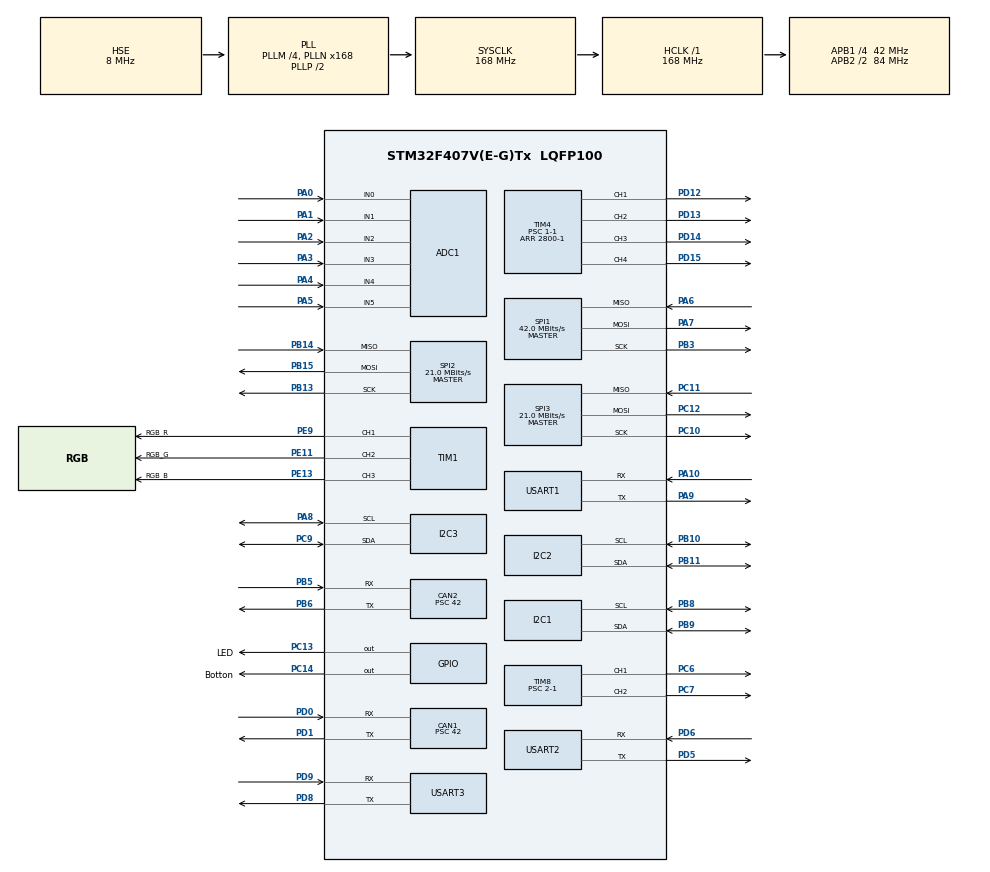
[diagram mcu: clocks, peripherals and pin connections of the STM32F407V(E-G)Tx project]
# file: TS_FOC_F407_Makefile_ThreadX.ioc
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ADC1.Channel-0\#ChannelRegularConversion=ADC_CHANNEL_0
ADC1.Channel-1\#ChannelRegularConversion=ADC_CHANNEL_1
ADC1.Channel-10\#ChannelRegularConversion=ADC_CHANNEL_5
ADC1.Channel-2\#ChannelRegularConversion=ADC_CHANNEL_2
ADC1.Channel-3\#ChannelRegularConversion=ADC_CHANNEL_3
ADC1.Channel-9\#ChannelRegularConversion=ADC_CHANNEL_4
ADC1.ContinuousConvMode=ENABLE
ADC1.DMAContinuousRequests=ENABLE
ADC1.InjNumberOfConversion=0
ADC1.NbrOfConversion=6
ADC1.NbrOfConversionFlag=1
ADC1.Rank-0\#ChannelRegularConversion=1
ADC1.Rank-1\#ChannelRegularConversion=2
ADC1.Rank-10\#ChannelRegularConversion=6
ADC1.Rank-2\#ChannelRegularConversion=3
ADC1.Rank-3\#ChannelRegularConversion=4
ADC1.Rank-9\#ChannelRegularConversion=5
ADC1.SamplingTime-0\#ChannelRegularConversion=ADC_SAMPLETIME_15CYCLES
ADC1.SamplingTime-1\#ChannelRegularConversion=ADC_SAMPLETIME_15CYCLES
ADC1.SamplingTime-10\#ChannelRegularConversion=ADC_SAMPLETIME_15CYCLES
ADC1.SamplingTime-2\#ChannelRegularConversion=ADC_SAMPLETIME_15CYCLES
ADC1.SamplingTime-3\#ChannelRegularConversion=ADC_SAMPLETIME_15CYCLES
ADC1.SamplingTime-9\#ChannelRegularConversion=ADC_SAMPLETIME_15CYCLES
ADC1.master=1
CAN1.BS1=CAN_BS1_7TQ
CAN1.BS2=CAN_BS2_2TQ
CAN1.CalculateBaudRate=100000
CAN1.CalculateTimeBit=10000
CAN1.CalculateTimeQuantum=1000.0
CAN1.Prescaler=42
CAN2.BS1=CAN_BS1_7TQ
CAN2.BS2=CAN_BS2_2TQ
CAN2.CalculateBaudRate=100000
CAN2.CalculateTimeBit=10000
CAN2.CalculateTimeQuantum=1000.0
CAN2.Prescaler=42
CAN2.SJW=CAN_SJW_1TQ
Dma.ADC1.1.Direction=DMA_PERIPH_TO_MEMORY
Dma.ADC1.1.FIFOMode=DMA_FIFOMODE_DISABLE
Dma.ADC1.1.Instance=DMA2_Stream4
Dma.ADC1.1.MemDataAlignment=DMA_MDATAALIGN_HALFWORD
Dma.ADC1.1.MemInc=DMA_MINC_ENABLE
Dma.ADC1.1.Mode=DMA_CIRCULAR
Dma.ADC1.1.PeriphDataAlignment=DMA_PDATAALIGN_HALFWORD
Dma.ADC1.1.PeriphInc=DMA_PINC_DISABLE
Dma.ADC1.1.Priority=DMA_PRIORITY_MEDIUM
Dma.I2C1_RX.7.Direction=DMA_PERIPH_TO_MEMORY
Dma.I2C1_RX.7.FIFOMode=DMA_FIFOMODE_DISABLE
Dma.I2C1_RX.7.Instance=DMA1_Stream0
Dma.I2C1_RX.7.MemDataAlignment=DMA_MDATAALIGN_BYTE
Dma.I2C1_RX.7.MemInc=DMA_MINC_ENABLE
Dma.I2C1_RX.7.Mode=DMA_NORMAL
Dma.I2C1_RX.7.PeriphDataAlignment=DMA_PDATAALIGN_BYTE
Dma.I2C1_RX.7.PeriphInc=DMA_PINC_DISABLE
Dma.I2C1_RX.7.Priority=DMA_PRIORITY_LOW
Dma.I2C1_TX.8.Direction=DMA_MEMORY_TO_PERIPH
Dma.I2C1_TX.8.FIFOMode=DMA_FIFOMODE_DISABLE
Dma.I2C1_TX.8.Instance=DMA1_Stream7
Dma.I2C1_TX.8.MemDataAlignment=DMA_MDATAALIGN_BYTE
Dma.I2C1_TX.8.MemInc=DMA_MINC_ENABLE
Dma.I2C1_TX.8.Mode=DMA_NORMAL
Dma.I2C1_TX.8.PeriphDataAlignment=DMA_PDATAALIGN_BYTE
Dma.I2C1_TX.8.PeriphInc=DMA_PINC_DISABLE
Dma.I2C1_TX.8.Priority=DMA_PRIORITY_LOW
Dma.Request0=USART1_RX
Dma.Request1=ADC1
Dma.Request2=USART3_RX
Dma.Request3=USART3_TX
Dma.Request4=USART1_TX
Dma.Request5=USART2_RX
Dma.Request6=USART2_TX
Dma.Request7=I2C1_RX
Dma.Request8=I2C1_TX
Dma.USART1_RX.0.Direction=DMA_PERIPH_TO_MEMORY
Dma.USART1_RX.0.FIFOMode=DMA_FIFOMODE_DISABLE
Dma.USART1_RX.0.Instance=DMA2_Stream2
Dma.USART1_RX.0.MemDataAlignment=DMA_MDATAALIGN_BYTE
Dma.USART1_RX.0.MemInc=DMA_MINC_ENABLE
Dma.USART1_RX.0.Mode=DMA_NORMAL
Dma.USART1_RX.0.PeriphDataAlignment=DMA_PDATAALIGN_BYTE
Dma.USART1_RX.0.PeriphInc=DMA_PINC_DISABLE
Dma.USART1_RX.0.Priority=DMA_PRIORITY_LOW
Dma.USART1_TX.4.Direction=DMA_MEMORY_TO_PERIPH
Dma.USART1_TX.4.FIFOMode=DMA_FIFOMODE_DISABLE
Dma.USART1_TX.4.Instance=DMA2_Stream7
Dma.USART1_TX.4.MemDataAlignment=DMA_MDATAALIGN_BYTE
Dma.USART1_TX.4.MemInc=DMA_MINC_ENABLE
Dma.USART1_TX.4.Mode=DMA_NORMAL
Dma.USART1_TX.4.PeriphDataAlignment=DMA_PDATAALIGN_BYTE
Dma.USART1_TX.4.PeriphInc=DMA_PINC_DISABLE
Dma.USART1_TX.4.Priority=DMA_PRIORITY_LOW
Dma.USART2_RX.5.Direction=DMA_PERIPH_TO_MEMORY
Dma.USART2_RX.5.FIFOMode=DMA_FIFOMODE_DISABLE
Dma.USART2_RX.5.Instance=DMA1_Stream5
Dma.USART2_RX.5.MemDataAlignment=DMA_MDATAALIGN_BYTE
Dma.USART2_RX.5.MemInc=DMA_MINC_ENABLE
Dma.USART2_RX.5.Mode=DMA_NORMAL
Dma.USART2_RX.5.PeriphDataAlignment=DMA_PDATAALIGN_BYTE
Dma.USART2_RX.5.PeriphInc=DMA_PINC_DISABLE
Dma.USART2_RX.5.Priority=DMA_PRIORITY_LOW
Dma.USART2_TX.6.Direction=DMA_MEMORY_TO_PERIPH
Dma.USART2_TX.6.FIFOMode=DMA_FIFOMODE_DISABLE
Dma.USART2_TX.6.Instance=DMA1_Stream6
Dma.USART2_TX.6.MemDataAlignment=DMA_MDATAALIGN_BYTE
Dma.USART2_TX.6.MemInc=DMA_MINC_ENABLE
Dma.USART2_TX.6.Mode=DMA_NORMAL
Dma.USART2_TX.6.PeriphDataAlignment=DMA_PDATAALIGN_BYTE
Dma.USART2_TX.6.PeriphInc=DMA_PINC_DISABLE
Dma.USART2_TX.6.Priority=DMA_PRIORITY_LOW
Dma.USART3_RX.2.Direction=DMA_PERIPH_TO_MEMORY
Dma.USART3_RX.2.FIFOMode=DMA_FIFOMODE_DISABLE
Dma.USART3_RX.2.Instance=DMA1_Stream1
Dma.USART3_RX.2.MemDataAlignment=DMA_MDATAALIGN_BYTE
Dma.USART3_RX.2.MemInc=DMA_MINC_ENABLE
Dma.USART3_RX.2.Mode=DMA_NORMAL
Dma.USART3_RX.2.PeriphDataAlignment=DMA_PDATAALIGN_BYTE
Dma.USART3_RX.2.PeriphInc=DMA_PINC_DISABLE
Dma.USART3_RX.2.Priority=DMA_PRIORITY_LOW
Dma.USART3_TX.3.Direction=DMA_MEMORY_TO_PERIPH
Dma.USART3_TX.3.FIFOMode=DMA_FIFOMODE_DISABLE
Dma.USART3_TX.3.Instance=DMA1_Stream4
Dma.USART3_TX.3.MemDataAlignment=DMA_MDATAALIGN_BYTE
Dma.USART3_TX.3.MemInc=DMA_MINC_ENABLE
Dma.USART3_TX.3.Mode=DMA_NORMAL
Dma.USART3_TX.3.PeriphDataAlignment=DMA_PDATAALIGN_BYTE
Dma.USART3_TX.3.PeriphInc=DMA_PINC_DISABLE
Dma.USART3_TX.3.Priority=DMA_PRIORITY_LOW
I2C1.I2C_Mode=I2C_Fast
I2C2.I2C_Mode=I2C_Fast
Mcu.Family=STM32F4
Mcu.Name=STM32F407V(E-G)Tx
Mcu.Package=LQFP100
NVIC.ADC_IRQn=true\:0\:0\:false\:false\:true\:true\:true\:true
NVIC.CAN1_RX0_IRQn=true\:0\:0\:false\:false\:true\:true\:true\:true
NVIC.CAN1_RX1_IRQn=true\:0\:0\:false\:false\:true\:true\:true\:true
NVIC.CAN1_SCE_IRQn=true\:0\:0\:false\:false\:true\:true\:true\:true
NVIC.CAN1_TX_IRQn=true\:0\:0\:false\:false\:true\:true\:true\:true
NVIC.CAN2_RX0_IRQn=true\:0\:0\:false\:false\:true\:true\:true\:true
NVIC.CAN2_RX1_IRQn=true\:0\:0\:false\:false\:true\:true\:true\:true
NVIC.CAN2_SCE_IRQn=true\:0\:0\:false\:false\:true\:true\:true\:true
NVIC.CAN2_TX_IRQn=true\:0\:0\:false\:false\:true\:true\:true\:true
NVIC.DMA1_Stream0_IRQn=true\:0\:0\:false\:false\:true\:false\:true\:true
NVIC.DMA1_Stream1_IRQn=true\:0\:0\:false\:false\:true\:false\:true\:true
NVIC.DMA1_Stream4_IRQn=true\:0\:0\:false\:false\:true\:false\:true\:true
NVIC.DMA1_Stream5_IRQn=true\:0\:0\:false\:false\:true\:false\:true\:true
NVIC.DMA1_Stream6_IRQn=true\:0\:0\:false\:false\:true\:false\:true\:true
NVIC.DMA1_Stream7_IRQn=true\:0\:0\:false\:false\:true\:false\:true\:true
NVIC.DMA2_Stream2_IRQn=true\:0\:0\:false\:false\:true\:false\:true\:true
NVIC.DMA2_Stream4_IRQn=true\:0\:0\:false\:false\:true\:false\:true\:true
NVIC.DMA2_Stream7_IRQn=true\:0\:0\:false\:false\:true\:false\:true\:true
NVIC.I2C1_ER_IRQn=true\:0\:0\:false\:false\:true\:true\:true\:true
NVIC.I2C1_EV_IRQn=true\:0\:0\:false\:false\:true\:true\:true\:true
NVIC.I2C2_ER_IRQn=true\:0\:0\:false\:false\:true\:true\:true\:true
NVIC.I2C2_EV_IRQn=true\:0\:0\:false\:false\:true\:true\:true\:true
NVIC.PriorityGroup=NVIC_PRIORITYGROUP_4
NVIC.SPI2_IRQn=true\:0\:0\:false\:false\:true\:true\:true\:true
NVIC.TIM4_IRQn=true\:0\:0\:false\:false\:true\:true\:true\:true
NVIC.TIM8_TRG_COM_TIM14_IRQn=true\:15\:0\:false\:false\:true\:false\:true\:true
NVIC.TIM8_UP_TIM13_IRQn=true\:15\:0\:false\:false\:true\:false\:true\:true
NVIC.TimeBase=TIM8_UP_TIM13_IRQn
NVIC.TimeBaseIP=TIM13
NVIC.USART1_IRQn=true\:0\:0\:false\:false\:true\:true\:true\:true
NVIC.USART2_IRQn=true\:0\:0\:false\:false\:true\:true\:true\:true
NVIC.USART3_IRQn=true\:0\:0\:false\:false\:true\:true\:true\:true
PA0-WKUP.Signal=ADCx_IN0
PA1.Signal=ADCx_IN1
PA10.Mode=Asynchronous
PA10.Signal=USART1_RX
PA13.Mode=Serial_Wire
PA13.Signal=SYS_JTMS-SWDIO
PA14.Mode=Serial_Wire
PA14.Signal=SYS_JTCK-SWCLK
PA2.Signal=ADCx_IN2
PA3.Signal=ADCx_IN3
PA4.Signal=ADCx_IN4
PA5.Signal=ADCx_IN5
PA6.Mode=Full_Duplex_Master
PA6.Signal=SPI1_MISO
PA7.Mode=Full_Duplex_Master
PA7.Signal=SPI1_MOSI
PA8.Mode=I2C
PA8.Signal=I2C3_SCL
PA9.Mode=Asynchronous
PA9.Signal=USART1_TX
PB10.GPIO_Pu=GPIO_PULLUP
PB10.Mode=I2C
PB10.Signal=I2C2_SCL
PB11.GPIO_Pu=GPIO_PULLUP
PB11.Mode=I2C
PB11.Signal=I2C2_SDA
PB13.Mode=Full_Duplex_Master
PB13.Signal=SPI2_SCK
PB14.Mode=Full_Duplex_Master
PB14.Signal=SPI2_MISO
PB15.Mode=Full_Duplex_Master
PB15.Signal=SPI2_MOSI
PB3.Mode=Full_Duplex_Master
PB3.Signal=SPI1_SCK
PB5.Mode=CAN_Activate
PB5.Signal=CAN2_RX
PB6.Mode=CAN_Activate
PB6.Signal=CAN2_TX
PB8.GPIO_Pu=GPIO_PULLUP
PB8.Mode=I2C
PB8.Signal=I2C1_SCL
PB9.GPIO_Pu=GPIO_PULLUP
PB9.Mode=I2C
PB9.Signal=I2C1_SDA
PC10.Mode=Full_Duplex_Master
PC10.Signal=SPI3_SCK
PC11.Mode=Full_Duplex_Master
PC11.Signal=SPI3_MISO
PC12.Mode=Full_Duplex_Master
PC12.Signal=SPI3_MOSI
PC13-ANTI_TAMP.GPIO_Label=LED
PC13-ANTI_TAMP.Signal=GPIO_Output
PC14-OSC32_IN.GPIO_Label=Botton
PC14-OSC32_IN.PinState=GPIO_PIN_SET
PC14-OSC32_IN.Signal=GPIO_Output
PC6.Signal=S_TIM8_CH1
PC7.Signal=S_TIM8_CH2
PC9.Mode=I2C
PC9.Signal=I2C3_SDA
PD0.Mode=CAN_Activate
PD0.Signal=CAN1_RX
PD1.Mode=CAN_Activate
PD1.Signal=CAN1_TX
PD12.Signal=S_TIM4_CH1
PD13.Signal=S_TIM4_CH2
PD14.Signal=S_TIM4_CH3
PD15.Signal=S_TIM4_CH4
PD5.Mode=Asynchronous
PD5.Signal=USART2_TX
PD6.Mode=Asynchronous
PD6.Signal=USART2_RX
PD8.Mode=Asynchronous
PD8.Signal=USART3_TX
PD9.Mode=Asynchronous
PD9.Signal=USART3_RX
PE11.GPIO_Label=RGB_G
PE11.Signal=S_TIM1_CH2
PE13.GPIO_Label=RGB_B
PE13.Signal=S_TIM1_CH3
PE9.GPIO_Label=RGB_R
PE9.Signal=S_TIM1_CH1
PH0-OSC_IN.Mode=HSE-External-Oscillator
PH0-OSC_IN.Signal=RCC_OSC_IN
PH1-OSC_OUT.Mode=HSE-External-Oscillator
PH1-OSC_OUT.Signal=RCC_OSC_OUT
ProjectManager.HeapSize=0x10000
ProjectManager.StackSize=0x8000
ProjectManager.TargetToolchain=Makefile
RCC.48MHZClocksFreq_Value=48000000
RCC.AHBFreq_Value=168000000
RCC.APB1CLKDivider=RCC_HCLK_DIV4
RCC.APB1Freq_Value=42000000
RCC.APB1TimFreq_Value=84000000
RCC.APB2CLKDivider=RCC_HCLK_DIV2
RCC.APB2Freq_Value=84000000
RCC.APB2TimFreq_Value=168000000
RCC.CortexFreq_Value=168000000
RCC.HCLKFreq_Value=168000000
RCC.HSE_VALUE=8000000
RCC.HSI_VALUE=16000000
RCC.LSE_VALUE=32768
RCC.PLLM=4
RCC.PLLN=168
RCC.PLLQ=7
RCC.PLLSourceVirtual=RCC_PLLSOURCE_HSE
RCC.SYSCLKFreq_VALUE=168000000
RCC.SYSCLKSource=RCC_SYSCLKSOURCE_PLLCLK
RCC.VCOOutputFreq_Value=336000000
SH.ADCx_IN0.0=ADC1_IN0,IN0
SH.ADCx_IN1.0=ADC1_IN1,IN1
SH.ADCx_IN2.0=ADC1_IN2,IN2
SH.ADCx_IN3.0=ADC1_IN3,IN3
SH.ADCx_IN4.0=ADC1_IN4,IN4
SH.ADCx_IN5.0=ADC1_IN5,IN5
SH.S_TIM1_CH1.0=TIM1_CH1,PWM Generation1 CH1
SH.S_TIM1_CH2.0=TIM1_CH2,PWM Generation2 CH2
SH.S_TIM1_CH3.0=TIM1_CH3,PWM Generation3 CH3
SH.S_TIM4_CH1.0=TIM4_CH1,PWM Generation1 CH1
SH.S_TIM4_CH2.0=TIM4_CH2,PWM Generation2 CH2
SH.S_TIM4_CH3.0=TIM4_CH3,PWM Generation3 CH3
SH.S_TIM4_CH4.0=TIM4_CH4,PWM Generation4 CH4
SH.S_TIM8_CH1.0=TIM8_CH1,PWM Generation1 CH1
SH.S_TIM8_CH2.0=TIM8_CH2,PWM Generation2 CH2
SPI1.CalculateBaudRate=42.0 MBits/s
SPI1.Direction=SPI_DIRECTION_2LINES
SPI1.Mode=SPI_MODE_MASTER
SPI1.VirtualType=VM_MASTER
SPI2.CalculateBaudRate=21.0 MBits/s
SPI2.Direction=SPI_DIRECTION_2LINES
SPI2.Mode=SPI_MODE_MASTER
SPI2.VirtualType=VM_MASTER
SPI3.CalculateBaudRate=21.0 MBits/s
SPI3.Direction=SPI_DIRECTION_2LINES
SPI3.Mode=SPI_MODE_MASTER
SPI3.VirtualType=VM_MASTER
STMicroelectronics.X-CUBE-AZRTOS-F4.1.1.0.AZRTOS_APP_MEM_ALLOCATION_METHOD=1
STMicroelectronics.X-CUBE-AZRTOS-F4.1.1.0.TX_APP_MEM_POOL_SIZE=20480
STMicroelectronics.X-CUBE-AZRTOS-F4.1.1.0.TX_TIMER_TICKS_PER_SECOND=1000
STMicroelectronics.X-CUBE-AZRTOS-F4.1.1.0.UX_DEVICE_CLASS_DFU_ERROR_GET_ENABLE=1
STMicroelectronics.X-CUBE-AZRTOS-F4.1.1.0.UX_DEVICE_CLASS_DFU_STATUS_MODE=0
STMicroelectronics.X-CUBE-AZRTOS-F4.1.1.0.UX_DEVICE_CLASS_DFU_STATUS_POLLTIMEOUT=100
STMicroelectronics.X-CUBE-AZRTOS-F4.1.1.0.UX_DEVICE_SIDE_ONLY=0
STMicroelectronics.X-CUBE-AZRTOS-F4.1.1.0.UX_ENFORCE_SAFE_ALIGNMENT=1
STMicroelectronics.X-CUBE-AZRTOS-F4.1.1.0.UX_HOST_SIDE_ONLY=0
STMicroelectronics.X-CUBE-AZRTOS-F4.1.1.0.UX_MAX_HCD=2
STMicroelectronics.X-CUBE-AZRTOS-F4.1.1.0.UX_OTG_SUPPORT=0
STMicroelectronics.X-CUBE-AZRTOS-F4.1.1.0.UX_THREAD_PRIORITY_HCD=2
STMicroelectronics.X-CUBE-AZRTOS-F4.1.1.0_IsAnAzureRtosMw=true
TIM1.Channel-PWM\ Generation1\ CH1=TIM_CHANNEL_1
TIM1.Channel-PWM\ Generation2\ CH2=TIM_CHANNEL_2
TIM1.Channel-PWM\ Generation3\ CH3=TIM_CHANNEL_3
TIM4.AutoReloadPreload=TIM_AUTORELOAD_PRELOAD_ENABLE
TIM4.Channel-PWM\ Generation1\ CH1=TIM_CHANNEL_1
TIM4.Channel-PWM\ Generation2\ CH2=TIM_CHANNEL_2
TIM4.Channel-PWM\ Generation3\ CH3=TIM_CHANNEL_3
TIM4.Channel-PWM\ Generation4\ CH4=TIM_CHANNEL_4
TIM4.Period=2800-1
TIM4.Prescaler=1-1
TIM8.AutoReloadPreload=TIM_AUTORELOAD_PRELOAD_ENABLE
TIM8.Channel-PWM\ Generation1\ CH1=TIM_CHANNEL_1
TIM8.Channel-PWM\ Generation2\ CH2=TIM_CHANNEL_2
TIM8.Period=2800-1
TIM8.Prescaler=2-1
USART1.VirtualMode=VM_ASYNC
USART2.VirtualMode=VM_ASYNC
USART3.VirtualMode=VM_ASYNC
VP_CRC_VS_CRC.Mode=CRC_Activate
VP_RNG_VS_RNG.Mode=RNG_Activate
VP_SYS_VS_tim13.Mode=TIM13
board=custom

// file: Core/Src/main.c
/* USER CODE BEGIN Header */
/**
  ******************************************************************************
  * @file           : main.c
  * @brief          : Main program body
  ******************************************************************************
  * @attention
  *
  * Copyright (c) 2025 STMicroelectronics.
  * All rights reserved.
  *
  * This software is licensed under terms that can be found in the LICENSE file
  * in the root directory of this software component.
  * If no LICENSE file comes with this software, it is provided AS-IS.
  *
  ******************************************************************************
  */
/* USER CODE END Header */
#include "main.h"
#include "adc.h"
#include "can.h"
#include "crc.h"
#include "dma.h"
#include "i2c.h"
#include "rng.h"
#include "spi.h"
#include "tim.h"
#include "usart.h"
#include "gpio.h"

/* USER CODE BEGIN Includes */

#include "stdio.h"
#include "as5600.h"
#include "pid.h"
#include "inlinecurrent.h"
#include "lowpass_filter.h"
#include "ts_foc.h"
#include "user_api.h"
/* USER CODE END Includes */

/* USER CODE BEGIN PD */
// 通用重定向头文件或代码段
#ifdef __GNUC__
    #define PUTCHAR_PROTOTYPE int __io_putchar(int ch)
#else
    #define PUTCHAR_PROTOTYPE int fputc(int ch, FILE *f)
#endif

PUTCHAR_PROTOTYPE
{
    HAL_UART_Transmit(&huart1, (uint8_t*)&ch, 1, HAL_MAX_DELAY);
    return ch;
}

// GCC 特定部分
#ifdef __GNUC__
int _write(int fd, char *ptr, int len)
{
    HAL_UART_Transmit(&huart1, (uint8_t*)ptr, len, HAL_MAX_DELAY);
    return len;
}
#endif

/* USER CODE END PD */

void SystemClock_Config(void);

int main(void)
{

  /* MCU Configuration--------------------------------------------------------*/

  /* Reset of all peripherals, Initializes the Flash interface and the Systick. */
  HAL_Init();

  /* Configure the system clock */
  SystemClock_Config();

  /* Initialize all configured peripherals */
  MX_GPIO_Init();
  MX_DMA_Init();
  MX_ADC1_Init();
  MX_CAN1_Init();
  MX_CAN2_Init();
  MX_I2C1_Init();
  MX_I2C2_Init();
  MX_SPI1_Init();
  MX_SPI2_Init();
  MX_TIM4_Init();
  MX_TIM8_Init();
  MX_USART1_UART_Init();
  MX_CRC_Init();
  MX_RNG_Init();
  MX_USART2_UART_Init();
  MX_USART3_UART_Init();
  MX_TIM1_Init();
  MX_I2C3_Init();
  MX_SPI3_Init();
  /* USER CODE BEGIN 2 */

  Ts_Foc_Init(&motor1, 1, 7, -1, 12);
  AS5600_Init(motor1->As5600_Sensor,&AS5600_I2C_Handle);
  CurrSense_Init(motor1->Inlinecurrent,0,1,2,&CURRENT_ADC_HANLDE);
  // Pid_Ang_Init(motor1->Pid_Ang,0.5,0,0.003,10000,0.08);
  // Pid_Vel_Init(motor1->Pid_Vel,3,2,0,10000,0.5);
  // Pid_Curr_Init(motor1->Pid_Curr,0.5,50,0,10000,12.6);

  // // 电流速度环PID参数设置
  // Pid_Vel_Init(motor1->Pid_Vel,3,2,0,10000,0.1);
  // Pid_Curr_Init(motor1->Pid_Curr,1.25,50,0,10000,12.6);

  // 力矩位置闭环PID参数
  Pid_Ang_Init(motor1->Pid_Ang,0.5,0.1,0.003,100000,0.1);
  Pid_Curr_Init(motor1->Pid_Curr,1.25,50,0,100000,12.6);

  // // 电流环单环PID参数设置
  // Pid_Curr_Init(motor1->Pid_Curr,5,200,0,10000,12.6);

  Lowpass_Filter_Init(motor1->Lowpass_Filter_Vel,0.01);
  Lowpass_Filter_Init(motor1->Lowpass_Filter_Curr,0.05);
  /* USER CODE END 2 */

  /* Infinite loop */
  /* USER CODE BEGIN WHILE */

  aligns_Motor_Zero_Angle(motor1);  //对电机进行零点对齐
  while (1)
  {
    user_main();
    /* USER CODE END WHILE */

  }
}

void SystemClock_Config(void)
{
  RCC_OscInitTypeDef RCC_OscInitStruct = {0};
  RCC_ClkInitTypeDef RCC_ClkInitStruct = {0};

  /** Configure the main internal regulator output voltage
  */
  __HAL_RCC_PWR_CLK_ENABLE();
  __HAL_PWR_VOLTAGESCALING_CONFIG(PWR_REGULATOR_VOLTAGE_SCALE1);

  /** Initializes the RCC Oscillators according to the specified parameters
  * in the RCC_OscInitTypeDef structure.
  */
  RCC_OscInitStruct.OscillatorType = RCC_OSCILLATORTYPE_HSE;
  RCC_OscInitStruct.HSEState = RCC_HSE_ON;
  RCC_OscInitStruct.PLL.PLLState = RCC_PLL_ON;
  RCC_OscInitStruct.PLL.PLLSource = RCC_PLLSOURCE_HSE;
  RCC_OscInitStruct.PLL.PLLM = 4;
  RCC_OscInitStruct.PLL.PLLN = 168;
  RCC_OscInitStruct.PLL.PLLP = RCC_PLLP_DIV2;
  RCC_OscInitStruct.PLL.PLLQ = 7;
  if (HAL_RCC_OscConfig(&RCC_OscInitStruct) != HAL_OK)
  {
    Error_Handler();
  }

  /** Initializes the CPU, AHB and APB buses clocks
  */
  RCC_ClkInitStruct.ClockType = RCC_CLOCKTYPE_HCLK|RCC_CLOCKTYPE_SYSCLK
                              |RCC_CLOCKTYPE_PCLK1|RCC_CLOCKTYPE_PCLK2;
  RCC_ClkInitStruct.SYSCLKSource = RCC_SYSCLKSOURCE_PLLCLK;
  RCC_ClkInitStruct.AHBCLKDivider = RCC_SYSCLK_DIV1;
  RCC_ClkInitStruct.APB1CLKDivider = RCC_HCLK_DIV4;
  RCC_ClkInitStruct.APB2CLKDivider = RCC_HCLK_DIV2;

  if (HAL_RCC_ClockConfig(&RCC_ClkInitStruct, FLASH_LATENCY_5) != HAL_OK)
  {
    Error_Handler();
  }
}

void HAL_TIM_PeriodElapsedCallback(TIM_HandleTypeDef *htim)
{
  if (htim->Instance == TIM13)
  {
    HAL_IncTick();
  }
}

void Error_Handler(void)
{
  __disable_irq();
  while (1)
  {
  }
}
